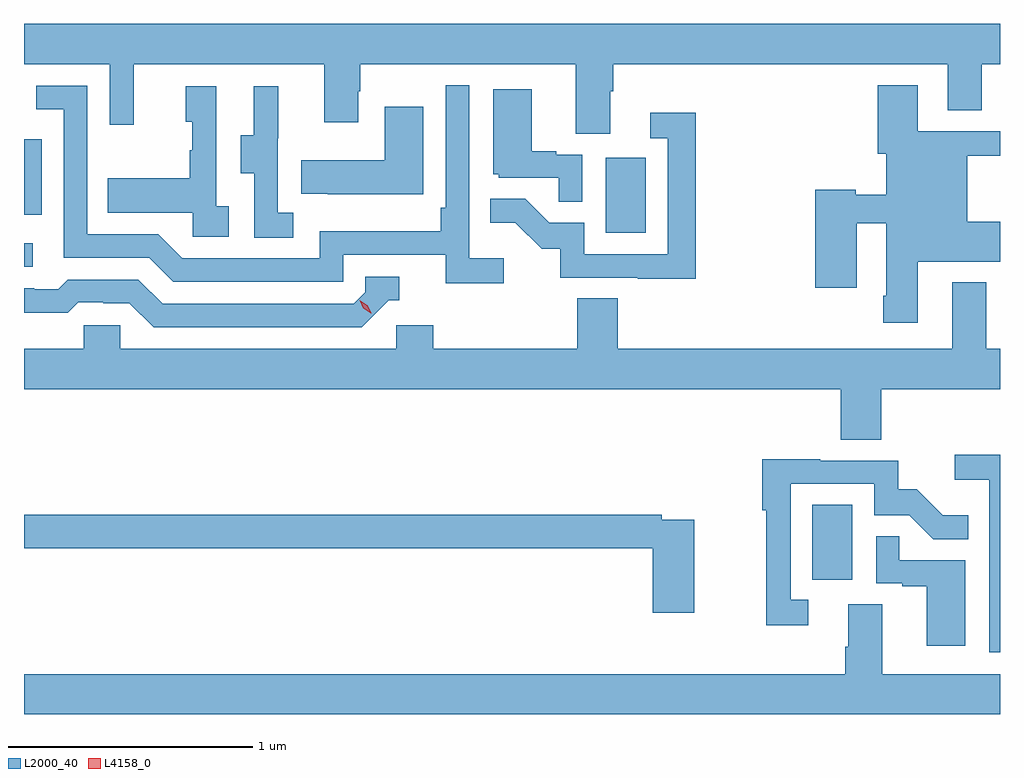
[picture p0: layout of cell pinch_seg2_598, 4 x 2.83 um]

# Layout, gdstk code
import gdstk
lib = gdstk.Library(unit=1e-6, precision=1e-09)
def R(c, l, rs):  # rectangles x0, y0, x1, y1
    for r in rs: c.add(gdstk.rectangle(r[:2], r[2:], *l))
def P(c, l, *ps):  # polygons
    for p in ps: c.add(gdstk.Polygon(p, *l))
L2000_40 = (2000, 40)
L4158_0 = (4158, 0)

pinch_seg2_598 = lib.new_cell('pinch_seg2_598')
R(pinch_seg2_598, L2000_40, [(1019.798,617.55,1019.962,617.857), (1016.567,618.834,1016.602,618.93), (1018.952,618.972,1019.116,619.279), (1016.567,619.047,1016.64,619.356)])
P(pinch_seg2_598, L2000_40, [(1016.567,619.664),(1016.919,619.664),(1016.919,619.416),(1017.017,619.416),(1017.017,619.664),(1017.797,619.664),(1017.797,619.425),(1017.937,619.425),(1017.937,619.553),(1017.945,619.553),(1017.945,619.664),(1018.829,619.664),(1018.829,619.378),(1018.969,619.378),(1018.969,619.552),(1018.982,619.552),(1018.982,619.664),(1020.353,619.664),(1020.353,619.474),(1020.493,619.474),(1020.493,619.664),(1020.567,619.664),(1020.567,619.828),(1016.567,619.828)],
  [(1020.229,618.854),(1020.567,618.854),(1020.567,619.018),(1020.433,619.018),(1020.433,619.288),(1020.567,619.288),(1020.567,619.389),(1020.229,619.389),(1020.229,619.576),(1020.065,619.576),(1020.065,619.296),(1020.101,619.296),(1020.101,619.129),(1019.976,619.129),(1019.976,619.148),(1019.81,619.148),(1019.81,618.747),(1019.98,618.747),(1019.98,619.012),(1020.101,619.012),(1020.101,618.715),(1020.089,618.715),(1020.089,618.603),(1020.229,618.603)],
  [(1018.534,618.868),(1018.392,618.868),(1018.392,619.576),(1018.296,619.576),(1018.296,619.075),(1018.276,619.075),(1018.276,618.979),(1017.78,618.979),(1017.78,618.867),(1017.216,618.867),(1017.117,618.966),(1016.826,618.966),(1016.826,619.575),(1016.617,619.575),(1016.617,619.479),(1016.73,619.479),(1016.73,618.87),(1017.08,618.87),(1017.179,618.771),(1017.876,618.771),(1017.876,618.882),(1018.295,618.882),(1018.295,618.766),(1018.534,618.766)],
  [(1017.67,619.055),(1017.606,619.055),(1017.606,619.359),(1017.608,619.359),(1017.608,619.573),(1017.509,619.573),(1017.509,619.371),(1017.455,619.371),(1017.455,619.216),(1017.51,619.216),(1017.51,618.952),(1017.67,618.952)],
  [(1017.406,619.082),(1017.354,619.082),(1017.354,619.573),(1017.23,619.573),(1017.23,619.428),(1017.256,619.428),(1017.256,619.31),(1017.246,619.31),(1017.246,619.195),(1016.911,619.195),(1016.911,619.055),(1017.258,619.055),(1017.258,618.957),(1017.406,618.957)],
  [(1018.854,619.293),(1018.748,619.293),(1018.748,619.306),(1018.648,619.306),(1018.648,619.561),(1018.49,619.561),(1018.49,619.212),(1018.512,619.212),(1018.512,619.197),(1018.759,619.197),(1018.759,619.099),(1018.854,619.099)],
  [(1018.204,619.489),(1018.046,619.489),(1018.046,619.27),(1017.703,619.27),(1017.703,619.133),(1017.811,619.133),(1017.811,619.13),(1018.204,619.13)],
  [(1019.321,619.465),(1019.133,619.465),(1019.133,619.359),(1019.205,619.359),(1019.205,618.885),(1018.863,618.885),(1018.863,619.014),(1018.719,619.014),(1018.621,619.112),(1018.477,619.112),(1018.477,619.013),(1018.581,619.013),(1018.688,618.906),(1018.765,618.906),(1018.765,618.789),(1019.083,618.789),(1019.083,618.784),(1019.321,618.784)],
  [(1018.062,618.696),(1018.105,618.696),(1018.105,618.792),(1017.966,618.792),(1017.966,618.729),(1017.918,618.681),(1017.135,618.681),(1017.036,618.78),(1016.747,618.78),(1016.708,618.741),(1016.609,618.741),(1016.609,618.744),(1016.567,618.744),(1016.567,618.645),(1016.747,618.645),(1016.789,618.687),(1016.892,618.687),(1016.892,618.684),(1016.999,618.684),(1017.098,618.585),(1017.951,618.585)],
  [(1020.08,618.332),(1020.567,618.332),(1020.567,618.496),(1020.511,618.496),(1020.511,618.769),(1020.371,618.769),(1020.371,618.496),(1019,618.496),(1019,618.704),(1018.835,618.704),(1018.835,618.496),(1018.244,618.496),(1018.244,618.594),(1018.092,618.594),(1018.092,618.496),(1016.961,618.496),(1016.961,618.594),(1016.811,618.594),(1016.811,618.496),(1016.567,618.496),(1016.567,618.332),(1019.915,618.332),(1019.915,618.124),(1020.08,618.124)],
  [(1020.567,618.062),(1020.381,618.062),(1020.381,617.96),(1020.522,617.96),(1020.522,617.253),(1020.567,617.253)],
  [(1019.782,617.469),(1019.709,617.469),(1019.709,617.943),(1020.051,617.943),(1020.051,617.814),(1020.195,617.814),(1020.293,617.716),(1020.437,617.716),(1020.437,617.815),(1020.333,617.815),(1020.226,617.922),(1020.15,617.922),(1020.15,618.039),(1019.831,618.039),(1019.831,618.044),(1019.593,618.044),(1019.593,617.836),(1019.608,617.836),(1019.608,617.364),(1019.782,617.364)],
  [(1019.314,617.796),(1019.18,617.796),(1019.18,617.816),(1016.567,617.816),(1016.567,617.68),(1019.144,617.68),(1019.144,617.415),(1019.314,617.415)],
  [(1020.424,617.631),(1020.155,617.631),(1020.155,617.729),(1020.06,617.729),(1020.06,617.535),(1020.167,617.535),(1020.167,617.523),(1020.266,617.523),(1020.266,617.28),(1020.424,617.28)],
  [(1020.567,617.164),(1020.085,617.164),(1020.085,617.45),(1019.945,617.45),(1019.945,617.276),(1019.933,617.276),(1019.933,617.164),(1016.567,617.164),(1016.567,617),(1020.567,617)])
P(pinch_seg2_598, L4158_0, [(1017.989,618.643),(1017.958,618.662),(1017.942,618.695),(1017.942,618.695),(1017.942,618.695),(1017.973,618.676),(1017.99,618.644),(1017.99,618.643)])

lib.write_gds('pinch_seg2_598.gds')
